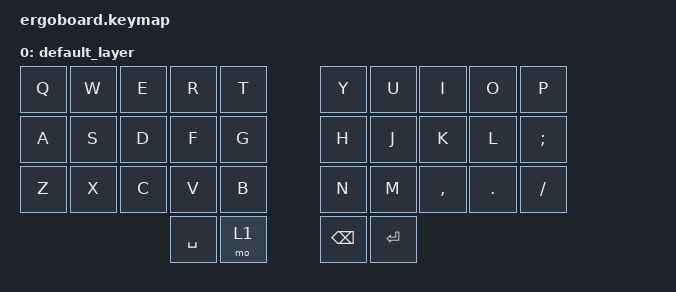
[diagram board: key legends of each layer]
#include <behaviors.dtsi>
#include <dt-bindings/zmk/keys.h>
#include <dt-bindings/zmk/bt.h>

/ {
    	keymap {
        	compatible = "zmk,keymap";

        	default_layer {
// -------------------------------------
// |     Q     |     W     |     E     |     R     |     T     |     Y     |     U     |     I     |     O     |     P     |
// |     A     |     S     |     D     |     F     |     G     |     H     |     J     |     K     |     L     |     ;     |
// |     Z     |     X     |     C     |     V     |     B     |     N     |     M     |     ,     |     .     |     /     |
//                                     |   SPACE   |    MENU   |    BSPC   |   ENTER   |
            		bindings = <
                &kp Q     &kp W     &kp E     &kp R     &kp T     &kp Y     &kp U     &kp I     &kp O     &kp P
                &kp A     &kp S     &kp D     &kp F     &kp G     &kp H     &kp J     &kp K     &kp L     &kp SEMI
                &kp Z     &kp X     &kp C     &kp V     &kp B     &kp N     &kp M     &kp COMMA &kp DOT   &kp SLASH
                                              &kp SPACE   &mo 1  &kp BSPC &kp ENTER
            >;
        };
    };
 };
